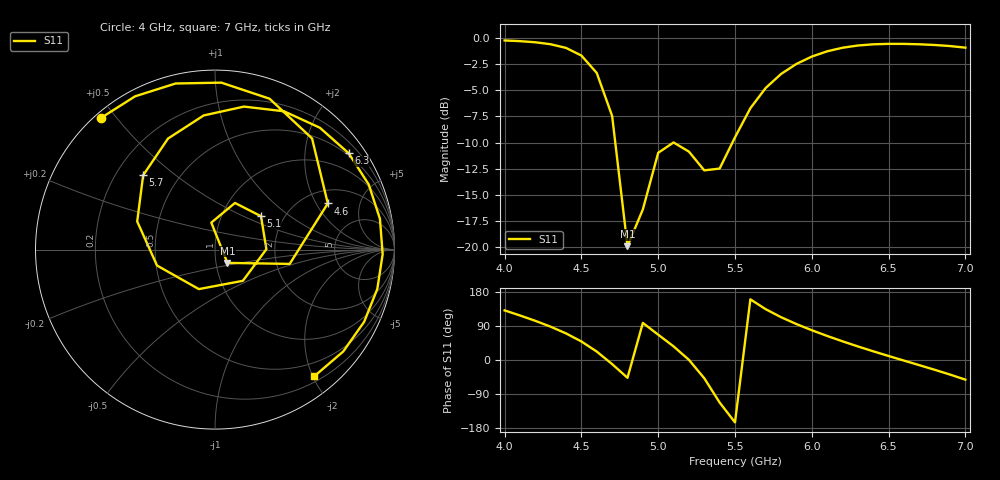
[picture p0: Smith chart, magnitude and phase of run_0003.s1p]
! Touchstone file exported from HFSS 2024.2.0
!  File:  C:/Users/wsak9/Desktop/Sim Fast/Widenad Patch/WP_AI_V1_sweep.aedt
!  Generated:  02:45:43 PM Oct 13, 2026
!  Design:  A1_model
!  Project:  WP_AI_V1_sweep
!  Setup:  Setup1
!  Solution:  Sweep
! Variables:
!  Air_gap = 3.83mm
!  Curve_Amp1 = 2.51
!  Curve_len1 = 1
!  Curve_pos = 11.385mm
!  Extra = 3.42mm
!  H_sub = 0.79mm
!  L_Patch = 18.77mm
!  L_Patch1 = 14.31mm
!  Sx = 1.08mm
!  Sy = 2.22mm
!  WS = 0.53mm
!  W_Patch = 14.39mm
!  W_Patch1 = 10.89mm
!Data is not renormalized
# GHz S MA
! Terminal data exported
! Port[1] = 1
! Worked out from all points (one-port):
!   31 points, 4 GHz to 7 GHz, reference per port
!   lowest |S11| = -19.9 dB at 4.8 GHz (marker M1), VSWR 1.23
!   |S11| at or under -10 dB: 4.72 GHz to 5.099 GHz (378.3 MHz wide, 7.71 % of centre); 5.101 GHz to 5.483 GHz (381.8 MHz wide, 7.22 % of centre)
!   S11 on the Smith chart (normalised r, x): 4 GHz: 0.02, +0.46; 4.6 GHz: 2.64, +2.52; 5.1 GHz: 1.53, +0.63; 5.7 GHz: 0.31, +0.39; 6.3 GHz: 0.44, +3.04; 7 GHz: 0.28, -2.03
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4  0.9704 130.9
4.2  0.9511 103.3
4.3  0.9309 87.8
4.4  0.894 70.1
4.5  0.8222 48.9
4.6  0.679 22.2
4.7  0.4237 -10.8
4.8  0.1014 -46.9
4.9  0.1518 97.8
5  0.2827 66.8
5.1  0.3167 36.0
5.2  0.2863 0.4
5.3  0.2331 -48.2
5.4  0.2377 -112.2
5.5  0.335 -164.6
5.6  0.461 160.1
5.7  0.5761 134.0
5.8  0.6718 112.9
5.9  0.7501 94.8
6  0.813 78.5
6.1  0.8613 63.5
6.2  0.8958 49.3
6.3  0.918 35.8
6.4  0.9302 22.9
6.5  0.9348 10.5
6.7  0.9305 -13.6
6.9  0.9126 -38.5
7  0.8967 -51.9
